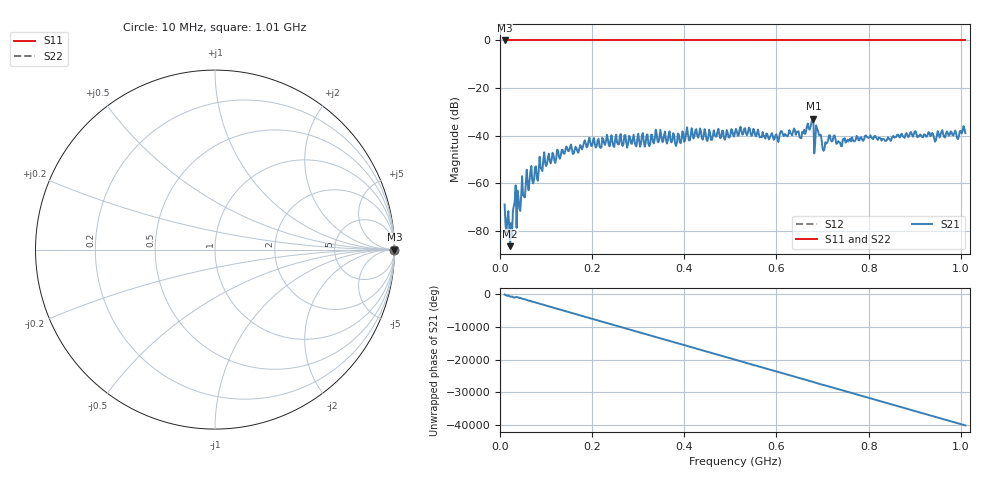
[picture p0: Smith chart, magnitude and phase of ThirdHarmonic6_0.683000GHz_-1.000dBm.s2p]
! 8/15/2025 10:47:36 PM
! C:\ANRITSUVNA\TEMP\TEMP.S2P
! CHANNEL.1
! TR.MEASUREMENT
! RAW.DATA
! RF.CORRECTION.OFF
! AVERAGING.OFF
! IF.BANDWIDTH: 5KHZ
! SWEEPTYPE:  FREQ.SWEEP(Linear)
! Reference Plane Port Info
! PORT:  PORT1  PORT2
! DISTANCE:  0  m  0  m
! TIME:  0  s  0  s
! PHASE.OFFSET:  0  deg.  0  deg.
! LOSS:  0  dB  0  dB
! REF.LOSS:  0  dB  0  dB
! REF.FREQ:  0  Hz  0  Hz
! Power Info
! POWER:  -20  dBm  -20  dBm
! EFF.POWER:  -20  dBm  -20  dBm
! SOURCE.ATTEN:  0  dB  0  dB
! TEST.ATTEN:  0  dB  0  dB
# GHZ S RI R 50.0
! FREQ.GHZ  S11RE  S11IM  S21RE  S21IM  S12RE  S12IM  S22RE  S22IM
!; PortSelection: Port_12
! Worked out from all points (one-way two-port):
!   501 points, 10 MHz to 1.01 GHz, reference 50 ohm
!   highest |S21| = -32.76 dB at 680 MHz (marker M1); lowest = -86.3 dB at 22 MHz (marker M2)
!   lowest |S11| = 0.0 dB at 10 MHz (marker M3)
!   |S11| at or under -10 dB: nowhere
!   |S22| runs from 0.0 to 0.0 dB; largest |S21 - S12| = 1
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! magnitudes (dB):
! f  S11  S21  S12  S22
! 10 MHz  0.0  -68.8  0.0  0.0
! 22 MHz  0.0  -86.3  0.0  0.0
! 36 MHz  0.0  -78.6  0.0  0.0
! 40 MHz  0.0  -65.8  0.0  0.0
! 62 MHz  0.0  -62.8  0.0  0.0
! 90 MHz  0.0  -54.0  0.0  0.0
! 178 MHz  0.0  -45.7  0.0  0.0
! 344 MHz  0.0  -42.7  0.0  0.0
! 510 MHz  0.0  -38.6  0.0  0.0
! 600 MHz  0.0  -39.4  0.0  0.0
! 640 MHz  0.0  -37.6  0.0  0.0
! 654 MHz  0.0  -41.0  0.0  0.0
! 676 MHz  0.0  -34.4  0.0  0.0
! 678 MHz  0.0  -32.9  0.0  0.0
! 680 MHz  0.0  -32.8  0.0  0.0
! 686 MHz  0.0  -35.6  0.0  0.0
! 690 MHz  0.0  -37.8  0.0  0.0
! 704 MHz  0.0  -45.7  0.0  0.0
! 716 MHz  0.0  -39.7  0.0  0.0
! 738 MHz  0.0  -42.8  0.0  0.0
! 844 MHz  0.0  -41.2  0.0  0.0
! 1.01 GHz  0.0  -38.9  0.0  0.0
